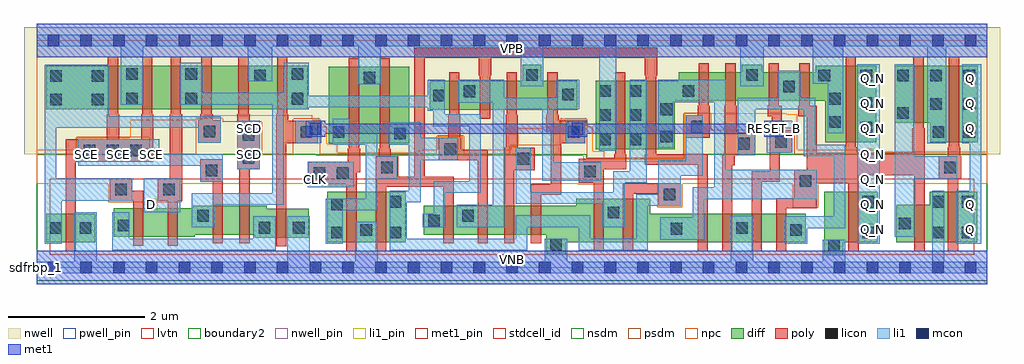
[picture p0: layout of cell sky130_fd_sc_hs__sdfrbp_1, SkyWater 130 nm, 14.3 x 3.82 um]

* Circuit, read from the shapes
.subckt sky130_fd_sc_hs__sdfrbp_1 CLK D Q Q_N RESET_B SCD SCE VGND VNB VPB VPWR
XM1 VGND SCE n1 VNB sky130_fd_pr__nfet_01v8_lvt w=0.42 l=0.15
XM2 n2 n1 n3 VNB sky130_fd_pr__nfet_01v8_lvt w=0.42 l=0.15
XM3 n4 D n2 VNB sky130_fd_pr__nfet_01v8_lvt w=0.42 l=0.15
XM4 n5 SCE n4 VNB sky130_fd_pr__nfet_01v8_lvt w=0.42 l=0.15
XM5 n3 SCD n5 VNB sky130_fd_pr__nfet_01v8_lvt w=0.42 l=0.15
XM6 VGND RESET_B n3 VNB sky130_fd_pr__nfet_01v8_lvt w=0.42 l=0.15
XM7 VGND CLK n6 VNB sky130_fd_pr__nfet_01v8_lvt w=0.74 l=0.15
XM8 n7 n6 VGND VNB sky130_fd_pr__nfet_01v8_lvt w=0.74 l=0.15
XM9 n8 n6 n4 VNB sky130_fd_pr__nfet_01v8_lvt w=0.42 l=0.15
XM10 n9 n7 n8 VNB sky130_fd_pr__nfet_01v8_lvt w=0.42 l=0.15
XM11 n10 n11 n9 VNB sky130_fd_pr__nfet_01v8_lvt w=0.42 l=0.15
XM12 VGND RESET_B n10 VNB sky130_fd_pr__nfet_01v8_lvt w=0.42 l=0.15
XM13 n11 n8 VGND VNB sky130_fd_pr__nfet_01v8_lvt w=0.64 l=0.15
XM14 n12 n7 n11 VNB sky130_fd_pr__nfet_01v8_lvt w=0.64 l=0.15
XM15 n13 n6 n12 VNB sky130_fd_pr__nfet_01v8_lvt w=0.42 l=0.15
XM16 VGND n14 n13 VNB sky130_fd_pr__nfet_01v8_lvt w=0.42 l=0.15
XM17 n15 RESET_B VGND VNB sky130_fd_pr__nfet_01v8_lvt w=0.42 l=0.15
XM18 n14 n12 n15 VNB sky130_fd_pr__nfet_01v8_lvt w=0.42 l=0.15
XM19 Q_N n12 VGND VNB sky130_fd_pr__nfet_01v8_lvt w=0.74 l=0.15
XM20 VGND n12 n16 VNB sky130_fd_pr__nfet_01v8_lvt w=0.55 l=0.15
XM21 Q n16 VGND VNB sky130_fd_pr__nfet_01v8_lvt w=0.74 l=0.15
XM22 VPWR SCE n1 VPB sky130_fd_pr__pfet_01v8 w=0.64 l=0.15
XM23 n17 SCE VPWR VPB sky130_fd_pr__pfet_01v8 w=0.64 l=0.15
XM24 n4 D n17 VPB sky130_fd_pr__pfet_01v8 w=0.64 l=0.15
XM25 n18 n1 n4 VPB sky130_fd_pr__pfet_01v8 w=0.64 l=0.15
XM26 VPWR SCD n18 VPB sky130_fd_pr__pfet_01v8 w=0.64 l=0.15
XM27 n4 RESET_B VPWR VPB sky130_fd_pr__pfet_01v8 w=0.64 l=0.15
XM28 VPWR CLK n6 VPB sky130_fd_pr__pfet_01v8 w=1.12 l=0.15
XM29 n7 n6 VPWR VPB sky130_fd_pr__pfet_01v8 w=1.12 l=0.15
XM30 n8 n7 n4 VPB sky130_fd_pr__pfet_01v8 w=0.42 l=0.15
XM31 n19 n6 n8 VPB sky130_fd_pr__pfet_01v8 w=0.42 l=0.15
XM32 VPWR n11 n19 VPB sky130_fd_pr__pfet_01v8 w=0.42 l=0.15
XM33 n8 RESET_B VPWR VPB sky130_fd_pr__pfet_01v8 w=0.42 l=0.15
XM34 n11 n8 VPWR VPB sky130_fd_pr__pfet_01v8 w=1 l=0.15
XM35 n12 n6 n11 VPB sky130_fd_pr__pfet_01v8 w=1 l=0.15
XM36 n20 n7 n12 VPB sky130_fd_pr__pfet_01v8 w=0.42 l=0.15
XM37 VPWR n14 n20 VPB sky130_fd_pr__pfet_01v8 w=0.42 l=0.15
XM38 n14 RESET_B VPWR VPB sky130_fd_pr__pfet_01v8 w=0.42 l=0.15
XM39 VPWR n12 n14 VPB sky130_fd_pr__pfet_01v8 w=0.42 l=0.15
XM40 Q_N n12 VPWR VPB sky130_fd_pr__pfet_01v8 w=1.12 l=0.15
XM41 VPWR n12 n16 VPB sky130_fd_pr__pfet_01v8 w=0.84 l=0.15
XM42 Q n16 VPWR VPB sky130_fd_pr__pfet_01v8 w=1.12 l=0.15
.ends

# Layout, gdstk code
import gdstk
lib = gdstk.Library(unit=1e-6, precision=1e-09)
def R(c, l, rs):  # rectangles x0, y0, x1, y1
    for r in rs: c.add(gdstk.rectangle(r[:2], r[2:], *l))
def A(c, l, x, y, w, h, nx, ny, dx, dy):  # array of equal rectangles
    R(c, l, [(x+i*dx, y+j*dy, x+i*dx+w, y+j*dy+h) for i in range(nx) for j in range(ny)])
def P(c, l, *ps):  # polygons
    for p in ps: c.add(gdstk.Polygon(p, *l))
nwell_pin = (64, 16)
nwell = (64, 20)
diff = (65, 20)
poly = (66, 20)
licon = (66, 44)
li1_pin = (67, 16)
li1 = (67, 20)
mcon = (67, 44)
met1_pin = (68, 16)
met1 = (68, 20)
stdcell_id = (81, 4)
nsdm = (93, 44)
psdm = (94, 20)
npc = (95, 20)
pwell_pin = (122, 16)
lvtn = (125, 44)
boundary2 = (236, 0)

sky130_fd_sc_hs__sdfrbp_ = lib.new_cell('sky130_fd_sc_hs__sdfrbp_1')
R(sky130_fd_sc_hs__sdfrbp_, nwell_pin, [(0,3.085,13.92,3.33)])
P(sky130_fd_sc_hs__sdfrbp_, nwell, [(14.11,3.52),(-0.19,3.52),(-0.19,1.66),(4.095,1.66),(4.095,1.64),(8.005,1.64),(8.005,1.555),(9.515,1.555),(9.515,1.66),(14.11,1.66)])
R(sky130_fd_sc_hs__sdfrbp_, diff, [(0.135,0.37,0.855,0.79), (4.25,0.37,5.4,1.11), (4.275,1.82,5.455,2.94), (0.135,2.32,3.965,2.96)])
P(sky130_fd_sc_hs__sdfrbp_, diff, [(3.98,0.86),(3.365,0.86),(3.365,0.905),(2.29,0.905),(2.29,0.87),(1.125,0.87),(1.125,0.45),(2.315,0.45),(2.315,0.485),(3.19,0.485),(3.19,0.44),(3.98,0.44)],
  [(7.915,2.735),(7.39,2.735),(7.39,2.97),(7.12,2.97),(7.12,2.735),(5.755,2.735),(5.755,2.315),(7.915,2.315)],
  [(11.265,0.79),(8.985,0.79),(8.985,1.01),(7.905,1.01),(7.905,0.905),(5.67,0.905),(5.67,0.485),(7.46,0.485),(7.46,0.195),(7.75,0.195),(7.75,0.37),(11.265,0.37)],
  [(12.295,2.96),(11.41,2.96),(11.41,2.865),(10.63,2.865),(10.63,2.97),(10.325,2.97),(10.325,2.865),(9.4,2.865),(9.4,2.735),(8.185,2.735),(8.185,1.735),(9.345,1.735),(9.345,2.445),(11.55,2.445),(11.55,1.84),(12.295,1.84)],
  [(12.32,1.11),(11.535,1.11),(11.535,0.18),(11.815,0.18),(11.815,0.37),(12.32,0.37)],
  [(13.785,2.96),(12.565,2.96),(12.565,2.12),(13.085,2.12),(13.085,1.84),(13.785,1.84)],
  [(13.78,1.11),(13.08,1.11),(13.08,0.92),(12.59,0.92),(12.59,0.37),(13.78,0.37)])
P(sky130_fd_sc_hs__sdfrbp_, poly, [(1.56,1.13),(1.395,1.13),(1.395,1.31),(1.065,1.31),(1.065,0.98),(1.41,0.98),(1.41,0.32),(1.56,0.32)],
  [(1.705,2.245),(1.69,2.245),(1.69,3.09),(1.54,3.09),(1.54,2.245),(1.525,2.245),(1.525,1.88),(1.205,1.88),(1.205,2.245),(1.19,2.245),(1.19,3.09),(1.04,3.09),(1.04,2.245),(1.025,2.245),(1.025,1.88),(0.42,1.88),(0.42,0.24),(0.57,0.24),(0.57,1.55),(1.705,1.55)],
  [(2.125,2.245),(2.11,2.245),(2.11,3.09),(1.96,3.09),(1.96,2.245),(1.945,2.245),(1.945,1.31),(1.77,1.31),(1.77,0.98),(1.915,0.98),(1.915,0.32),(2.065,0.32),(2.065,0.98),(2.125,0.98)],
  [(2.695,2.16),(2.575,2.16),(2.575,2.245),(2.56,2.245),(2.56,3.09),(2.41,3.09),(2.41,2.245),(2.395,2.245),(2.395,2.16),(2.365,2.16),(2.365,1.83),(2.695,1.83)],
  [(2.725,1.59),(2.395,1.59),(2.395,1.26),(2.575,1.26),(2.575,0.355),(2.725,0.355)],
  [(3.265,2.11),(3.115,2.11),(3.115,2.245),(3.1,2.245),(3.1,3.09),(2.95,3.09),(2.95,2.245),(2.935,2.245),(2.935,1.44),(2.965,1.44),(2.965,0.355),(3.115,0.355),(3.115,1.44),(3.265,1.44)],
  [(4.115,2.15),(3.685,2.15),(3.685,2.245),(3.67,2.245),(3.67,3.09),(3.52,3.09),(3.52,2.245),(3.505,2.245),(3.505,0.31),(3.655,0.31),(3.655,1.82),(4.115,1.82)],
  [(4.735,1.745),(4.72,1.745),(4.72,3.07),(4.57,3.07),(4.57,1.745),(4.555,1.745),(4.555,1.55),(3.975,1.55),(3.975,1.22),(4.535,1.22),(4.535,0.24),(4.685,0.24),(4.685,1.4),(4.735,1.4)],
  [(6.605,1.725),(6.22,1.725),(6.22,1.905),(6.205,1.905),(6.205,2.24),(6.19,2.24),(6.19,2.865),(6.04,2.865),(6.04,2.24),(6.025,2.24),(6.025,1.905),(5.89,1.905),(5.89,1.575),(6.455,1.575),(6.455,0.355),(6.605,0.355)],
  [(7.29,1.76),(7.045,1.76),(7.045,2.24),(7.03,2.24),(7.03,2.865),(6.88,2.865),(6.88,2.24),(6.865,2.24),(6.865,1.76),(6.845,1.76),(6.845,0.355),(6.995,0.355),(6.995,1.43),(7.29,1.43)],
  [(8.025,2.15),(7.645,2.15),(7.645,2.24),(7.63,2.24),(7.63,2.865),(7.48,2.865),(7.48,2.24),(7.465,2.24),(7.465,2),(7.53,2),(7.53,1.22),(7.235,1.22),(7.235,0.355),(7.385,0.355),(7.385,1.07),(7.68,1.07),(7.68,1.82),(8.025,1.82)],
  [(8.635,1.66),(8.62,1.66),(8.62,2.865),(8.47,2.865),(8.47,1.66),(8.455,1.66),(8.455,1.595),(7.94,1.595),(7.94,1.245),(8.155,1.245),(8.155,0.24),(8.305,0.24),(8.305,1.445),(8.635,1.445)],
  [(9.435,1.235),(8.585,1.235),(8.585,0.24),(8.735,0.24),(8.735,1.085),(9.105,1.085),(9.105,0.905),(9.435,0.905)],
  [(9.83,1.66),(9.07,1.66),(9.07,2.81),(9.085,2.81),(9.085,3.225),(5.53,3.225),(5.53,1.335),(5.295,1.335),(5.295,1.63),(5.185,1.63),(5.185,1.745),(5.17,1.745),(5.17,3.07),(5.02,3.07),(5.02,1.745),(5.005,1.745),(5.005,1.63),(4.965,1.63),(4.965,0.24),(5.115,0.24),(5.115,1.185),(5.955,1.185),(5.955,0.355),(6.105,0.355),(6.105,1.335),(5.68,1.335),(5.68,3.075),(6.475,3.075),(6.475,2.81),(6.49,2.81),(6.49,2.185),(6.64,2.185),(6.64,2.81),(6.655,2.81),(6.655,3.075),(8.905,3.075),(8.905,2.81),(8.92,2.81),(8.92,1.66),(8.905,1.66),(8.905,1.51),(9.68,1.51),(9.68,0.24),(9.83,0.24)],
  [(9.86,2.37),(9.845,2.37),(9.845,2.995),(9.695,2.995),(9.695,2.37),(9.68,2.37),(9.68,2.23),(9.505,2.23),(9.505,1.9),(9.86,1.9)],
  [(10.525,1.98),(10.25,1.98),(10.25,2.37),(10.235,2.37),(10.235,2.995),(10.085,2.995),(10.085,2.37),(10.07,2.37),(10.07,1.65),(10.04,1.65),(10.04,0.24),(10.19,0.24),(10.19,1.5),(10.22,1.5),(10.22,1.65),(10.525,1.65)],
  [(11.065,2.01),(10.915,2.01),(10.915,2.37),(10.87,2.37),(10.87,2.995),(10.72,2.995),(10.72,2.37),(10.705,2.37),(10.705,2.22),(10.765,2.22),(10.765,2.01),(10.735,2.01),(10.735,1.41),(10.47,1.41),(10.47,0.24),(10.62,0.24),(10.62,1.26),(10.885,1.26),(10.885,1.68),(11.065,1.68)],
  [(13.005,2.045),(12.99,2.045),(12.99,3.09),(12.84,3.09),(12.84,2.045),(12.825,2.045),(12.825,1.685),(12.015,1.685),(12.015,1.765),(12,1.765),(12,3.09),(11.85,3.09),(11.85,1.765),(11.835,1.765),(11.835,1.685),(11.425,1.685),(11.425,2.37),(11.32,2.37),(11.32,2.995),(11.17,2.995),(11.17,2.37),(11.155,2.37),(11.155,2.22),(11.275,2.22),(11.275,1.435),(11.095,1.435),(11.095,1.02),(10.83,1.02),(10.83,0.24),(10.98,0.24),(10.98,0.87),(11.425,0.87),(11.425,1.235),(11.89,1.235),(11.89,0.24),(12.04,0.24),(12.04,1.355),(12.855,1.355),(12.855,0.24),(13.005,0.24)],
  [(13.545,1.63),(13.525,1.63),(13.525,1.765),(13.51,1.765),(13.51,3.09),(13.36,3.09),(13.36,1.765),(13.345,1.765),(13.345,1.63),(13.215,1.63),(13.215,1.3),(13.345,1.3),(13.345,0.24),(13.495,0.24),(13.495,1.3),(13.545,1.3)])
A(sky130_fd_sc_hs__sdfrbp_, licon, 0.685, 1.63, 0.17, 0.17, 3, 1, 0.34, 0)
A(sky130_fd_sc_hs__sdfrbp_, licon, 8.235, 1.795, 0.17, 0.17, 1, 3, 0, 0.355)
A(sky130_fd_sc_hs__sdfrbp_, licon, 8.685, 1.795, 0.17, 0.17, 1, 3, 0, 0.355)
A(sky130_fd_sc_hs__sdfrbp_, licon, 12.605, 2.73, 0.17, 0.17, 3, 1, 0.485, 0)
R(sky130_fd_sc_hs__sdfrbp_, licon, [(11.59,0.24,11.76,0.41), (7.52,0.255,7.69,0.425), (4.31,0.43,4.48,0.6), (5.17,0.43,5.34,0.6), (12.095,0.43,12.265,0.6), (13.12,0.43,13.29,0.6), (13.55,0.43,13.72,0.6), (4.74,0.465,4.91,0.635), (11.035,0.465,11.205,0.635), (9.285,0.485,9.455,0.655), (0.195,0.495,0.365,0.665), (0.625,0.495,0.795,0.665), (10.245,0.495,10.415,0.665), (3.25,0.5,3.42,0.67), (3.75,0.5,3.92,0.67), (1.185,0.535,1.355,0.705), (12.63,0.56,12.8,0.73), (5.73,0.605,5.9,0.775), (2.35,0.675,2.52,0.845), (6.23,0.675,6.4,0.845), (8.36,0.725,8.53,0.895), (4.31,0.84,4.48,1.01), (5.17,0.88,5.34,1.05), (12.095,0.88,12.265,1.05), (13.12,0.88,13.29,1.05), (13.55,0.88,13.72,1.05), (9.185,0.985,9.355,1.155), (1.145,1.06,1.315,1.23), (1.85,1.06,2.02,1.23), (11.175,1.185,11.345,1.355), (4.055,1.3,4.225,1.47), (4.395,1.3,4.565,1.47), (8.02,1.325,8.19,1.495), (2.475,1.34,2.645,1.51), (5.045,1.38,5.215,1.55), (13.295,1.38,13.465,1.55), (7.04,1.51,7.21,1.68), (3.015,1.52,3.185,1.69), (5.97,1.655,6.14,1.825), (10.275,1.73,10.445,1.9), (10.815,1.76,10.985,1.93), (9.135,1.835,9.305,2.005), (3.015,1.86,3.185,2.03), (5.235,1.88,5.405,2.05), (3.865,1.9,4.035,2.07), (7.775,1.9,7.945,2.07), (13.125,1.9,13.295,2.07), (13.575,1.9,13.745,2.07), (4.335,1.905,4.505,2.075), (2.445,1.91,2.615,2.08), (12.065,1.97,12.235,2.14), (9.585,1.98,9.755,2.15), (11.61,2.05,11.78,2.22), (12.605,2.18,12.775,2.35), (9.135,2.235,9.305,2.405), (13.09,2.315,13.26,2.485), (13.575,2.315,13.745,2.485), (12.065,2.33,12.235,2.5), (0.195,2.38,0.365,2.55), (0.805,2.38,0.975,2.55), (1.305,2.39,1.475,2.56), (2.175,2.39,2.345,2.56), (3.735,2.39,3.905,2.56), (11.61,2.39,11.78,2.56), (5.805,2.44,5.975,2.61), (7.695,2.45,7.865,2.62), (6.255,2.5,6.425,2.67), (9.46,2.505,9.63,2.675), (10.935,2.57,11.105,2.74), (4.785,2.7,4.955,2.87), (0.195,2.725,0.365,2.895), (0.805,2.725,0.975,2.895), (3.18,2.73,3.35,2.9), (11.45,2.73,11.62,2.9), (12.065,2.73,12.235,2.9), (7.17,2.74,7.34,2.91), (10.39,2.74,10.56,2.91), (1.305,2.75,1.475,2.92), (2.175,2.75,2.345,2.92), (3.735,2.75,3.905,2.92)])
A(sky130_fd_sc_hs__sdfrbp_, li1_pin, 12.155, 0.47, 0.17, 0.17, 1, 7, 0, 0.37)
A(sky130_fd_sc_hs__sdfrbp_, li1_pin, 0.635, 1.58, 0.17, 0.17, 3, 1, 0.48, 0)
A(sky130_fd_sc_hs__sdfrbp_, li1_pin, 13.595, 1.95, 0.17, 0.17, 1, 3, 0, 0.37)
R(sky130_fd_sc_hs__sdfrbp_, li1_pin, [(13.595,0.47,13.765,0.64), (1.595,0.84,1.765,1.01), (13.595,0.84,13.765,1.01), (3.995,1.21,4.165,1.38), (3.035,1.58,3.205,1.75), (3.035,1.95,3.205,2.12)])
R(sky130_fd_sc_hs__sdfrbp_, li1, [(12.015,0.35,12.345,2.98), (1.565,0.81,2.1,1.31), (3.965,1.18,4.645,1.55), (2.935,1.44,3.265,2.15), (10.695,1.685,11.065,2.15), (3.785,1.82,4.165,2.15), (7.745,1.82,8.035,2.15)])
P(sky130_fd_sc_hs__sdfrbp_, li1, [(11.845,1.8),(11.405,1.8),(11.405,2.49),(11.185,2.49),(11.185,2.885),(10.855,2.885),(10.855,2.49),(10.265,2.49),(10.265,1.65),(10.525,1.65),(10.525,2.32),(11.235,2.32),(11.235,1.63),(11.675,1.63),(11.675,0.75),(10.955,0.75),(10.955,0.35),(11.285,0.35),(11.285,0.58),(11.845,0.58)],
  [(13.485,1.63),(12.855,1.63),(12.855,2.98),(12.57,2.98),(12.57,0.455),(12.855,0.455),(12.855,1.3),(13.485,1.3)],
  [(11.425,1.435),(10.095,1.435),(10.095,2.755),(9.105,2.755),(9.105,1.755),(9.325,1.755),(9.325,2.425),(9.925,2.425),(9.925,1.175),(9.605,1.175),(9.605,0.735),(9.135,0.735),(9.135,0.405),(9.775,0.405),(9.775,1.005),(11.425,1.005)],
  [(2.695,2.22),(1.055,2.22),(1.055,2.975),(0.115,2.975),(0.115,0.35),(0.365,0.35),(0.365,0.98),(1.395,0.98),(1.395,1.31),(0.285,1.31),(0.285,2.05),(2.365,2.05),(2.365,1.83),(2.695,1.83)],
  [(2.725,1.66),(1.795,1.66),(1.795,1.88),(0.605,1.88),(0.605,1.49),(2.395,1.49),(2.395,1.26),(2.725,1.26)],
  [(3.5,0.75),(3.17,0.75),(3.17,0.425),(1.355,0.425),(1.355,0.81),(1.105,0.81),(1.105,0.255),(3.5,0.255)],
  [(5.28,1.63),(4.985,1.63),(4.985,1.97),(4.585,1.97),(4.585,2.18),(4.335,2.18),(4.335,1.8),(4.815,1.8),(4.815,1.01),(4.23,1.01),(4.23,0.35),(4.48,0.35),(4.48,0.84),(4.985,0.84),(4.985,1.3),(5.28,1.3)],
  [(6.505,2.245),(5.975,2.245),(5.975,2.755),(5.725,2.755),(5.725,2.52),(3.985,2.52),(3.985,3),(3.615,3),(3.615,2.56),(2.425,2.56),(2.425,3),(2.095,3),(2.095,2.39),(3.445,2.39),(3.445,1.09),(2.27,1.09),(2.27,0.595),(2.6,0.595),(2.6,0.92),(3.615,0.92),(3.615,2.32),(3.985,2.32),(3.985,2.35),(5.725,2.35),(5.725,2.3),(5.805,2.3),(5.805,2.075),(6.335,2.075),(6.335,1.265),(5.81,1.265),(5.81,0.79),(5.65,0.79),(5.65,0.595),(5.98,0.595),(5.98,1.095),(6.505,1.095)],
  [(8.935,2.755),(8.685,2.755),(8.685,1.415),(8.44,1.415),(8.44,1.105),(7.235,1.105),(7.235,1.76),(7.015,1.76),(7.015,0.935),(8.28,0.935),(8.28,0.595),(8.61,0.595),(8.61,1.245),(8.935,1.245)],
  [(8.27,1.545),(7.575,1.545),(7.575,2.32),(7.945,2.32),(7.945,2.755),(7.615,2.755),(7.615,2.49),(6.845,2.49),(6.845,2.755),(6.175,2.755),(6.175,2.415),(6.675,2.415),(6.675,0.925),(6.15,0.925),(6.15,0.595),(6.845,0.595),(6.845,2.32),(7.405,2.32),(7.405,1.275),(8.27,1.275)],
  [(13.92,0.085),(13.29,0.085),(13.29,1.13),(13.12,1.13),(13.12,0.085),(11.84,0.085),(11.84,0.41),(11.51,0.41),(11.51,0.085),(10.495,0.085),(10.495,0.76),(10.165,0.76),(10.165,0.085),(7.77,0.085),(7.77,0.425),(7.44,0.425),(7.44,0.085),(4.99,0.085),(4.99,0.67),(4.66,0.67),(4.66,0.085),(4,0.085),(4,0.75),(3.67,0.75),(3.67,0.085),(0.875,0.085),(0.875,0.81),(0.545,0.81),(0.545,0.085),(0,0.085),(0,-0.085),(13.92,-0.085)],
  [(13.92,3.415),(0,3.415),(0,3.245),(1.225,3.245),(1.225,2.39),(1.555,2.39),(1.555,3.245),(3.085,3.245),(3.085,2.73),(3.445,2.73),(3.445,3.245),(4.705,3.245),(4.705,2.69),(5.035,2.69),(5.035,3.245),(7.09,3.245),(7.09,2.66),(7.42,2.66),(7.42,3.245),(8.235,3.245),(8.235,1.715),(8.485,1.715),(8.485,3.245),(10.305,3.245),(10.305,2.66),(10.65,2.66),(10.65,3.245),(11.37,3.245),(11.37,2.695),(11.585,2.695),(11.585,1.97),(11.815,1.97),(11.815,3.245),(13.045,3.245),(13.045,1.82),(13.325,1.82),(13.325,3.245),(13.92,3.245)],
  [(13.835,2.98),(13.555,2.98),(13.555,1.82),(13.665,1.82),(13.665,1.13),(13.47,1.13),(13.47,0.35),(13.835,0.35)],
  [(9.755,2.23),(9.505,2.23),(9.505,1.575),(9.105,1.575),(9.105,1.075),(8.78,1.075),(8.78,0.425),(8.11,0.425),(8.11,0.765),(7.015,0.765),(7.015,0.425),(5.42,0.425),(5.42,0.96),(5.62,0.96),(5.62,1.575),(6.165,1.575),(6.165,1.905),(5.62,1.905),(5.62,2.13),(5.155,2.13),(5.155,1.8),(5.45,1.8),(5.45,1.13),(5.17,1.13),(5.17,0.255),(7.185,0.255),(7.185,0.595),(7.94,0.595),(7.94,0.255),(8.95,0.255),(8.95,0.905),(9.435,0.905),(9.435,1.345),(9.755,1.345)])
A(sky130_fd_sc_hs__sdfrbp_, mcon, 0.155, -0.085, 0.17, 0.17, 29, 2, 0.48, 3.33)
R(sky130_fd_sc_hs__sdfrbp_, mcon, [(3.995,1.95,4.165,2.12), (7.835,1.95,8.005,2.12), (10.715,1.95,10.885,2.12)])
R(sky130_fd_sc_hs__sdfrbp_, met1_pin, [(0,0,13.92,0.245), (10.715,1.95,10.885,2.12), (0,3.085,13.92,3.33)])
R(sky130_fd_sc_hs__sdfrbp_, met1, [(0,-0.245,13.92,0.245), (0,3.085,13.92,3.575)])
P(sky130_fd_sc_hs__sdfrbp_, met1, [(10.945,2.15),(10.655,2.15),(10.655,2.105),(8.065,2.105),(8.065,2.15),(7.775,2.15),(7.775,2.105),(4.225,2.105),(4.225,2.15),(3.935,2.15),(3.935,1.92),(4.225,1.92),(4.225,1.965),(7.775,1.965),(7.775,1.92),(8.065,1.92),(8.065,1.965),(10.655,1.965),(10.655,1.92),(10.945,1.92)])
R(sky130_fd_sc_hs__sdfrbp_, stdcell_id, [(0,0,13.92,3.33)])
P(sky130_fd_sc_hs__sdfrbp_, nsdm, [(13.92,1.66),(9.475,1.66),(9.475,1.605),(8.055,1.605),(8.055,1.66),(0,1.66),(0,-0.19),(13.92,-0.19)])
P(sky130_fd_sc_hs__sdfrbp_, psdm, [(13.92,3.52),(0,3.52),(0,1.66),(0.575,1.66),(0.575,1.91),(1.645,1.91),(1.645,1.66),(2.335,1.66),(2.335,2.19),(2.725,2.19),(2.725,2.14),(3.295,2.14),(3.295,1.66),(3.755,1.66),(3.755,2.18),(4.145,2.18),(4.145,1.66),(5.86,1.66),(5.86,1.935),(6.25,1.935),(6.25,1.66),(6.93,1.66),(6.93,1.79),(7.665,1.79),(7.665,2.18),(8.055,2.18),(8.055,1.605),(9.475,1.605),(9.475,2.26),(9.875,2.26),(9.875,2.01),(10.705,2.01),(10.705,2.04),(11.095,2.04),(11.095,1.66),(13.92,1.66)])
P(sky130_fd_sc_hs__sdfrbp_, npc, [(13.92,1.7),(12.425,1.7),(12.425,1.73),(11.14,1.73),(11.14,2.245),(10.98,2.245),(10.98,2.265),(9.485,2.265),(9.485,1.595),(8.31,1.595),(8.31,1.705),(8.145,1.705),(8.145,2.065),(8.045,2.065),(8.045,2.17),(7.675,2.17),(7.675,2.065),(7.41,2.065),(7.41,2.045),(7.045,2.045),(7.045,1.78),(6.94,1.78),(6.94,1.73),(6.24,1.73),(6.24,1.925),(5.87,1.925),(5.87,1.73),(5.595,1.73),(5.595,1.68),(4.4,1.68),(4.4,1.815),(4.245,1.815),(4.245,2.065),(4.135,2.065),(4.135,2.17),(4.03,2.17),(4.03,2.23),(2.45,2.23),(2.45,2.18),(2.345,2.18),(2.345,2.165),(1.37,2.165),(1.37,1.9),(0.585,1.9),(0.585,1.73),(0,1.73),(0,1.23),(1.045,1.23),(1.045,0.96),(2.12,0.96),(2.12,1.23),(3.955,1.23),(3.955,1.2),(4.665,1.2),(4.665,1.23),(7.92,1.23),(7.92,1.225),(8.29,1.225),(8.29,1.23),(9.085,1.23),(9.085,0.885),(9.455,0.885),(9.455,1.23),(11.075,1.23),(11.075,0.88),(11.445,0.88),(11.445,1.23),(13.92,1.23)])
R(sky130_fd_sc_hs__sdfrbp_, pwell_pin, [(0,0,13.92,0.245)])
R(sky130_fd_sc_hs__sdfrbp_, lvtn, [(0.19,0.19,13.73,1.3)])
R(sky130_fd_sc_hs__sdfrbp_, boundary2, [(0,0,13.92,3.33)])
sky130_fd_sc_hs__sdfrbp_.add(gdstk.Label('sdfrbp_1', (0,0), layer=83, texttype=44))
sky130_fd_sc_hs__sdfrbp_.add(gdstk.Label('VNB', (6.96,0.123), layer=64, texttype=59))
sky130_fd_sc_hs__sdfrbp_.add(gdstk.Label('VPB', (6.96,3.208), layer=64, texttype=5))
sky130_fd_sc_hs__sdfrbp_.add(gdstk.Label('RESET_B', (10.8,2.035), layer=68, texttype=5))
sky130_fd_sc_hs__sdfrbp_.add(gdstk.Label('VPWR', (6.96,3.208), layer=68, texttype=5))
sky130_fd_sc_hs__sdfrbp_.add(gdstk.Label('VGND', (6.96,0.123), layer=68, texttype=5))
sky130_fd_sc_hs__sdfrbp_.add(gdstk.Label('Q_N', (12.24,2.035), layer=67, texttype=5))
sky130_fd_sc_hs__sdfrbp_.add(gdstk.Label('Q_N', (12.24,2.405), layer=67, texttype=5))
sky130_fd_sc_hs__sdfrbp_.add(gdstk.Label('Q_N', (12.24,2.775), layer=67, texttype=5))
sky130_fd_sc_hs__sdfrbp_.add(gdstk.Label('SCE', (0.72,1.665), layer=67, texttype=5))
sky130_fd_sc_hs__sdfrbp_.add(gdstk.Label('SCE', (1.2,1.665), layer=67, texttype=5))
sky130_fd_sc_hs__sdfrbp_.add(gdstk.Label('SCE', (1.68,1.665), layer=67, texttype=5))
sky130_fd_sc_hs__sdfrbp_.add(gdstk.Label('CLK', (4.08,1.295), layer=67, texttype=5))
sky130_fd_sc_hs__sdfrbp_.add(gdstk.Label('SCD', (3.12,1.665), layer=67, texttype=5))
sky130_fd_sc_hs__sdfrbp_.add(gdstk.Label('SCD', (3.12,2.035), layer=67, texttype=5))
sky130_fd_sc_hs__sdfrbp_.add(gdstk.Label('D', (1.68,0.925), layer=67, texttype=5))
sky130_fd_sc_hs__sdfrbp_.add(gdstk.Label('Q', (13.68,0.925), layer=67, texttype=5))
sky130_fd_sc_hs__sdfrbp_.add(gdstk.Label('Q', (13.68,2.035), layer=67, texttype=5))
sky130_fd_sc_hs__sdfrbp_.add(gdstk.Label('Q', (13.68,2.405), layer=67, texttype=5))
sky130_fd_sc_hs__sdfrbp_.add(gdstk.Label('Q', (13.68,2.775), layer=67, texttype=5))
sky130_fd_sc_hs__sdfrbp_.add(gdstk.Label('Q', (13.68,0.555), layer=67, texttype=5))
sky130_fd_sc_hs__sdfrbp_.add(gdstk.Label('Q_N', (12.24,0.555), layer=67, texttype=5))
sky130_fd_sc_hs__sdfrbp_.add(gdstk.Label('Q_N', (12.24,0.925), layer=67, texttype=5))
sky130_fd_sc_hs__sdfrbp_.add(gdstk.Label('Q_N', (12.24,1.295), layer=67, texttype=5))
sky130_fd_sc_hs__sdfrbp_.add(gdstk.Label('Q_N', (12.24,1.665), layer=67, texttype=5))

lib.write_gds('sky130_fd_sc_hs__sdfrbp_1.gds')
